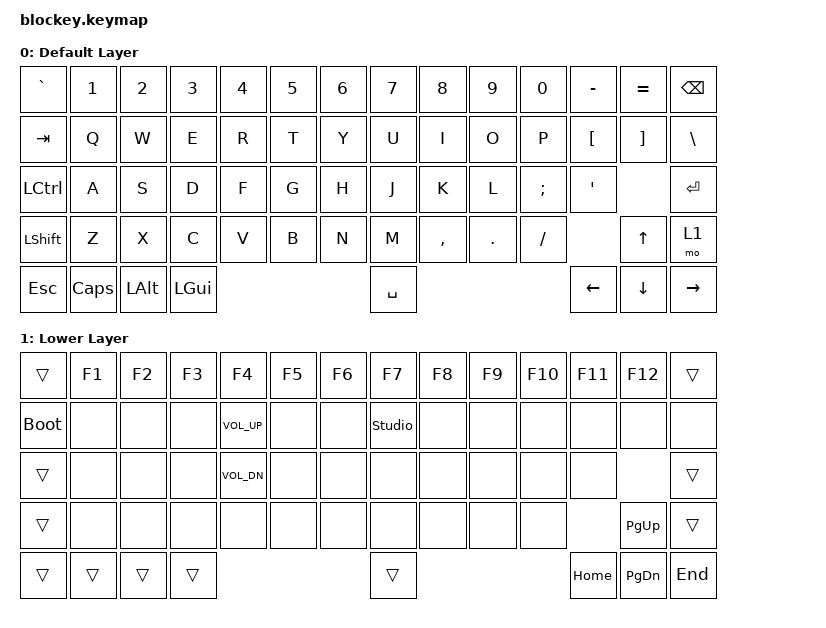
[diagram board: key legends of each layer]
/*
 * Copyright (c) 2021 The ZMK Contributors
 *
 * SPDX-License-Identifier: MIT
 */

#include <behaviors.dtsi>
#include <dt-bindings/zmk/keys.h>
#include <dt-bindings/zmk/mouse.h>
#include <dt-bindings/zmk/bt.h>
#include <dt-bindings/zmk/outputs.h>

/ {
    keymap {
        compatible = "zmk,keymap";

        default_layer {
            display-name = "Default Layer";
            bindings = <
&kp GRAVE    &kp N1    &kp N2    &kp N3    &kp N4    &kp N5    &kp N6    &kp N7    &kp N8    &kp N9    &kp N0    &kp MINUS &kp EQUAL &kp BSPC
&kp TAB      &kp Q     &kp W     &kp E     &kp R     &kp T     &kp Y     &kp U     &kp I     &kp O     &kp P     &kp LBKT  &kp RBKT  &kp BSLH
&kp LCTRL    &kp A     &kp S     &kp D     &kp F     &kp G     &kp H     &kp J     &kp K     &kp L     &kp SEMI  &kp SQT             &kp ENTER
&kp LSHFT    &kp Z     &kp X     &kp C     &kp V     &kp B     &kp N     &kp M     &kp COMMA &kp DOT   &kp FSLH            &kp UP    &mo 1
&kp ESC      &kp CAPS  &kp LALT  &kp LGUI                                &kp SPACE                               &kp LEFT  &kp DOWN  &kp RIGHT
            >;
        };
        lower_layer {
            display-name = "Lower Layer";
            bindings = <
&trans       &kp F1  &kp F2  &kp F3  &kp F4        &kp F5  &kp F6  &kp F7          &kp F8  &kp F9  &kp F10  &kp F11   &kp F12    &trans
&bootloader  &none   &none   &none   &kp C_VOL_UP  &none   &none   &studio_unlock  &none   &none   &none    &none     &none      &none
&trans       &none   &none   &none   &kp C_VOL_DN  &none   &none   &none           &none   &none   &none    &none                &trans
&trans       &none   &none   &none   &none         &none   &none   &none           &none   &none   &none              &kp PG_UP  &trans
&trans       &trans  &trans  &trans                                &trans                                   &kp HOME  &kp PG_DN  &kp END
            >;
        };
    };
};
